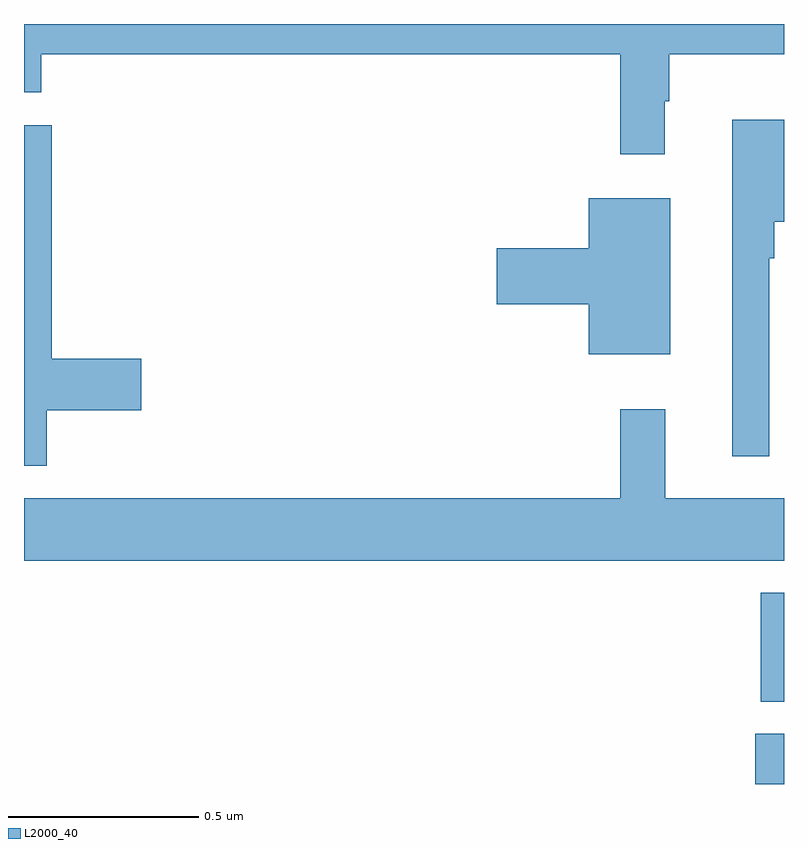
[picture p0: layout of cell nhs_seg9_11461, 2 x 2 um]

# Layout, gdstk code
import gdstk
lib = gdstk.Library(unit=1e-6, precision=1e-09)
def R(c, l, rs):  # rectangles x0, y0, x1, y1
    for r in rs: c.add(gdstk.rectangle(r[:2], r[2:], *l))
def P(c, l, *ps):  # polygons
    for p in ps: c.add(gdstk.Polygon(p, *l))
L2000_40 = (2000, 40)

nhs_seg9_11461 = lib.new_cell('nhs_seg9_11461')
R(nhs_seg9_11461, L2000_40, [(257.924,1194.5,258,1194.632), (257.939,1194.717,258,1195.003)])
P(nhs_seg9_11461, L2000_40, [(257.686,1196.297),(257.698,1196.297),(257.698,1196.42),(258,1196.42),(258,1196.5),(256,1196.5),(256,1196.321),(256.046,1196.321),(256.046,1196.42),(257.569,1196.42),(257.569,1196.157),(257.686,1196.157)],
  [(257.961,1195.883),(257.974,1195.883),(257.974,1195.979),(258,1195.979),(258,1196.248),(257.864,1196.248),(257.864,1195.362),(257.961,1195.362)],
  [(256.06,1195.484),(256.309,1195.484),(256.309,1195.619),(256.073,1195.619),(256.073,1196.234),(256,1196.234),(256,1195.338),(256.06,1195.338)],
  [(257.701,1196.041),(257.486,1196.041),(257.486,1195.91),(257.244,1195.91),(257.244,1195.763),(257.486,1195.763),(257.486,1195.631),(257.701,1195.631)],
  [(258,1195.252),(257.687,1195.252),(257.687,1195.486),(257.569,1195.486),(257.569,1195.252),(256,1195.252),(256,1195.088),(258,1195.088)])

lib.write_gds('nhs_seg9_11461.gds')
